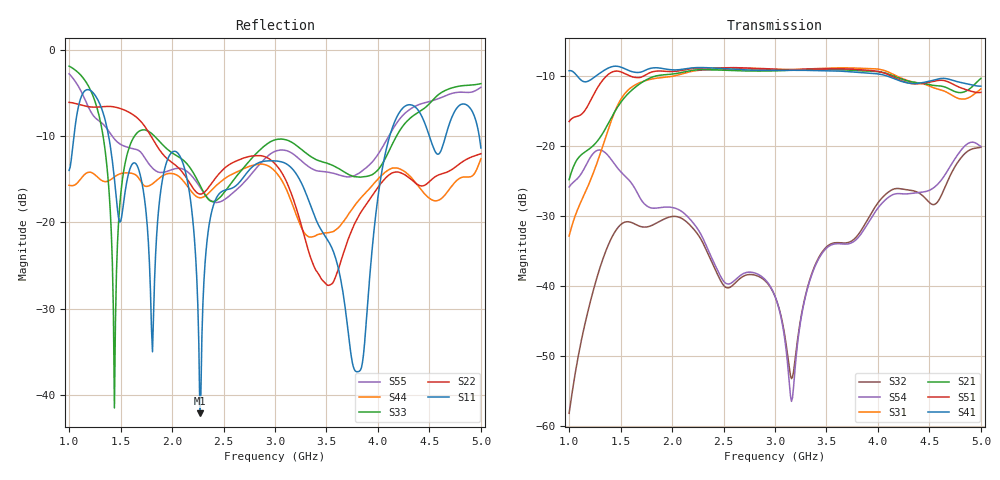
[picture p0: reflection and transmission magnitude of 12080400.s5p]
! AWR Design Environment (19377) Sat Dec 27 02:21:50 2025
! Document = 'EM_Extract_4_way'
! nPorts: 5, nXvals: 401
! Created with skrf 1.8.0 (http://scikit-rf.org).
# GHz S RI R 50.0
!freq ReS11 ImS11 ReS12 ImS12 ReS13 ImS13
! ReS14 ImS14 ReS15 ImS15
! ReS21 ImS21 ReS22 ImS22 ReS23 ImS23
! ReS24 ImS24 ReS25 ImS25
! ReS31 ImS31 ReS32 ImS32 ReS33 ImS33
! ReS34 ImS34 ReS35 ImS35
! ReS41 ImS41 ReS42 ImS42 ReS43 ImS43
! ReS44 ImS44 ReS45 ImS45
! ReS51 ImS51 ReS52 ImS52 ReS53 ImS53
! ReS54 ImS54 ReS55 ImS55
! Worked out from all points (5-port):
!   401 points, 1 GHz to 5 GHz, reference 50 ohm
!   strongest paths, dB at 1 GHz, 2 GHz, 3 GHz, 4 GHz, 5 GHz:
!     S41: -9.2, -9.1, -9.2, -9.7, -11.4
!     S51: -16.5, -9.4, -9.0, -9.3, -12.3
!     S21: -24.8, -9.7, -9.3, -9.4, -10.4
!     S31: -32.9, -10.1, -9.1, -9.0, -11.8
!     S54: -25.9, -28.8, -41.5, -28.9, -20.1
!     S32: -58.2, -30.1, -41.5, -28.1, -20.2
!   lowest |S11| = -42.2 dB at 2.27 GHz (marker M1), VSWR 1.02, Z = 49.2 - j0.0305 ohm
!   |S11| at or under -10 dB: start of sweep to 1.047 GHz; 1.384 GHz to 4.114 GHz (2.73 GHz wide, 99.3 % of centre); 4.5 GHz to 4.657 GHz (157.4 MHz wide, 3.44 % of centre)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
